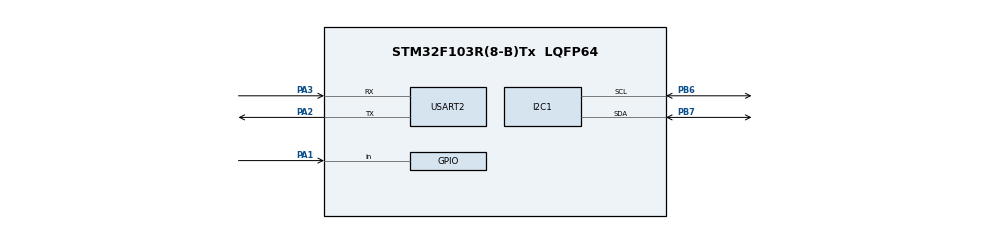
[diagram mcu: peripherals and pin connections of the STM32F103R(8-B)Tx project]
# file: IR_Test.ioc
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Mcu.Family=STM32F1
Mcu.Name=STM32F103R(8-B)Tx
Mcu.Package=LQFP64
NVIC.PriorityGroup=NVIC_PRIORITYGROUP_4
PA1.GPIO_PuPd=GPIO_PULLDOWN
PA1.Signal=GPIO_Input
PA2.Mode=Asynchronous
PA2.Signal=USART2_TX
PA3.Mode=Asynchronous
PA3.Signal=USART2_RX
PB6.Mode=I2C
PB6.Signal=I2C1_SCL
PB7.Mode=I2C
PB7.Signal=I2C1_SDA
ProjectManager.HeapSize=0x200
ProjectManager.StackSize=0x400
ProjectManager.TargetToolchain=STM32CubeIDE
RCC.APB1Freq_Value=8000000
RCC.APB2Freq_Value=8000000
USART2.VirtualMode=VM_ASYNC
VP_SYS_VS_ND.Mode=No_Debug
board=custom

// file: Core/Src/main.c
/* USER CODE BEGIN Header */
/**
  ******************************************************************************
  * @file           : main.c
  * @brief          : Main program body
  ******************************************************************************
  * @attention
  *
  * Copyright (c) 2026 STMicroelectronics.
  * All rights reserved.
  *
  * This software is licensed under terms that can be found in the LICENSE file
  * in the root directory of this software component.
  * If no LICENSE file comes with this software, it is provided AS-IS.
  *
  ******************************************************************************
  */
/* USER CODE END Header */
#include "main.h"
#include "math.h"
#include "stdio.h"
#include "string.h"

#define MPU6050_ADDR (0x68 << 1)

#define PWR_MGMT_1     0x6B
#define SMPLRT_DIV     0x19
#define CONFIG         0x1A
#define GYRO_CONFIG    0x1B
#define ACCEL_CONFIG   0x1C
#define ACCEL_XOUT_H   0x3B
#define GYRO_XOUT_H    0x43

I2C_HandleTypeDef hi2c1;

UART_HandleTypeDef huart2;

void SystemClock_Config(void);
static void MX_GPIO_Init(void);
static void MX_USART2_UART_Init(void);
static void MX_I2C1_Init(void);

/* USER CODE BEGIN 0 */
void MPU6050_Init(void)
{
    uint8_t data;

    // Wake up MPU6050
    data = 0;
    HAL_I2C_Mem_Write(&hi2c1, MPU6050_ADDR, PWR_MGMT_1, 1, &data, 1, 1000);

    // Sample rate = 1kHz
    data = 0x07;
    HAL_I2C_Mem_Write(&hi2c1, MPU6050_ADDR, SMPLRT_DIV, 1, &data, 1, 1000);

    // Config
    data = 0x00;
    HAL_I2C_Mem_Write(&hi2c1, MPU6050_ADDR, CONFIG, 1, &data, 1, 1000);

    // Gyro config ±250 deg/s
    data = 0x00;
    HAL_I2C_Mem_Write(&hi2c1, MPU6050_ADDR, GYRO_CONFIG, 1, &data, 1, 1000);

    // Accel config ±2g
    data = 0x00;
    HAL_I2C_Mem_Write(&hi2c1, MPU6050_ADDR, ACCEL_CONFIG, 1, &data, 1, 1000);
}
/* USER CODE END 0 */

int main(void)
{

  /* MCU Configuration--------------------------------------------------------*/

  /* Reset of all peripherals, Initializes the Flash interface and the Systick. */
  HAL_Init();

  /* Configure the system clock */
  SystemClock_Config();

  /* Initialize all configured peripherals */
  MX_GPIO_Init();
  MX_USART2_UART_Init();
  MX_I2C1_Init();
  /* USER CODE BEGIN 2 */
  MPU6050_Init();
  uint8_t check;
  uint8_t Data;

  // Check if MPU6050 is ready
  check = HAL_I2C_IsDeviceReady(&hi2c1, MPU6050_ADDR, 3, 1000);

  if (check == HAL_OK)
  {
      Data = 0;
      HAL_I2C_Mem_Write(&hi2c1, MPU6050_ADDR, 0x6B, 1, &Data, 1, 1000);
  }
  /* USER CODE END 2 */

  /* Infinite loop */
  /* USER CODE BEGIN WHILE */
  while (1)
  {
	  uint8_t Rec_Data[6];
	  int16_t Accel_X_RAW, Accel_Y_RAW, Accel_Z_RAW;
	  int16_t Gyro_X_RAW, Gyro_Y_RAW, Gyro_Z_RAW;

	  float Ax, Ay, Az;
	  float Gx, Gy, Gz;

	  // -------- ACCEL READ --------
	  HAL_I2C_Mem_Read(&hi2c1, MPU6050_ADDR, ACCEL_XOUT_H, 1, Rec_Data, 6, 1000);

	  Accel_X_RAW = (int16_t)(Rec_Data[0] << 8 | Rec_Data[1]);
	  Accel_Y_RAW = (int16_t)(Rec_Data[2] << 8 | Rec_Data[3]);
	  Accel_Z_RAW = (int16_t)(Rec_Data[4] << 8 | Rec_Data[5]);

	  Ax = Accel_X_RAW / 16384.0;
	  Ay = Accel_Y_RAW / 16384.0;
	  Az = Accel_Z_RAW / 16384.0;

	  // -------- GYRO READ --------
	  HAL_I2C_Mem_Read(&hi2c1, MPU6050_ADDR, GYRO_XOUT_H, 1, Rec_Data, 6, 1000);

	  Gyro_X_RAW = (int16_t)(Rec_Data[0] << 8 | Rec_Data[1]);
	  Gyro_Y_RAW = (int16_t)(Rec_Data[2] << 8 | Rec_Data[3]);
	  Gyro_Z_RAW = (int16_t)(Rec_Data[4] << 8 | Rec_Data[5]);

	  Gx = Gyro_X_RAW / 131.0;
	  Gy = Gyro_Y_RAW / 131.0;
	  Gz = Gyro_Z_RAW / 131.0;

	  // -------- PRINT --------
	  char buffer[150];
	  sprintf(buffer,
	          "Ax: %.2f Ay: %.2f Az: %.2f | Gx: %.2f Gy: %.2f Gz: %.2f\r\n",
	          Ax, Ay, Az, Gx, Gy, Gz);

	  HAL_UART_Transmit(&huart2, (uint8_t*)buffer, strlen(buffer), 100);

	  HAL_Delay(200);
  }
}
void SystemClock_Config(void)
{
  RCC_OscInitTypeDef RCC_OscInitStruct = {0};
  RCC_ClkInitTypeDef RCC_ClkInitStruct = {0};

  /** Initializes the RCC Oscillators according to the specified parameters
  * in the RCC_OscInitTypeDef structure.
  */
  RCC_OscInitStruct.OscillatorType = RCC_OSCILLATORTYPE_HSI;
  RCC_OscInitStruct.HSIState = RCC_HSI_ON;
  RCC_OscInitStruct.HSICalibrationValue = RCC_HSICALIBRATION_DEFAULT;
  RCC_OscInitStruct.PLL.PLLState = RCC_PLL_NONE;
  if (HAL_RCC_OscConfig(&RCC_OscInitStruct) != HAL_OK)
  {
    Error_Handler();
  }

  /** Initializes the CPU, AHB and APB buses clocks
  */
  RCC_ClkInitStruct.ClockType = RCC_CLOCKTYPE_HCLK|RCC_CLOCKTYPE_SYSCLK
                              |RCC_CLOCKTYPE_PCLK1|RCC_CLOCKTYPE_PCLK2;
  RCC_ClkInitStruct.SYSCLKSource = RCC_SYSCLKSOURCE_HSI;
  RCC_ClkInitStruct.AHBCLKDivider = RCC_SYSCLK_DIV1;
  RCC_ClkInitStruct.APB1CLKDivider = RCC_HCLK_DIV1;
  RCC_ClkInitStruct.APB2CLKDivider = RCC_HCLK_DIV1;

  if (HAL_RCC_ClockConfig(&RCC_ClkInitStruct, FLASH_LATENCY_0) != HAL_OK)
  {
    Error_Handler();
  }
}

static void MX_I2C1_Init(void)
{

  hi2c1.Instance = I2C1;
  hi2c1.Init.ClockSpeed = 100000;
  hi2c1.Init.DutyCycle = I2C_DUTYCYCLE_2;
  hi2c1.Init.OwnAddress1 = 0;
  hi2c1.Init.AddressingMode = I2C_ADDRESSINGMODE_7BIT;
  hi2c1.Init.DualAddressMode = I2C_DUALADDRESS_DISABLE;
  hi2c1.Init.OwnAddress2 = 0;
  hi2c1.Init.GeneralCallMode = I2C_GENERALCALL_DISABLE;
  hi2c1.Init.NoStretchMode = I2C_NOSTRETCH_DISABLE;
  if (HAL_I2C_Init(&hi2c1) != HAL_OK)
  {
    Error_Handler();
  }

}

static void MX_USART2_UART_Init(void)
{

  huart2.Instance = USART2;
  huart2.Init.BaudRate = 115200;
  huart2.Init.WordLength = UART_WORDLENGTH_8B;
  huart2.Init.StopBits = UART_STOPBITS_1;
  huart2.Init.Parity = UART_PARITY_NONE;
  huart2.Init.Mode = UART_MODE_TX_RX;
  huart2.Init.HwFlowCtl = UART_HWCONTROL_NONE;
  huart2.Init.OverSampling = UART_OVERSAMPLING_16;
  if (HAL_UART_Init(&huart2) != HAL_OK)
  {
    Error_Handler();
  }

}

static void MX_GPIO_Init(void)
{
  GPIO_InitTypeDef GPIO_InitStruct = {0};

  /* GPIO Ports Clock Enable */
  __HAL_RCC_GPIOA_CLK_ENABLE();
  __HAL_RCC_GPIOB_CLK_ENABLE();

  /*Configure GPIO pin : PA1 */
  GPIO_InitStruct.Pin = GPIO_PIN_1;
  GPIO_InitStruct.Mode = GPIO_MODE_INPUT;
  GPIO_InitStruct.Pull = GPIO_PULLDOWN;
  HAL_GPIO_Init(GPIOA, &GPIO_InitStruct);

}

void Error_Handler(void)
{
  __disable_irq();
  while (1)
  {
  }
}
